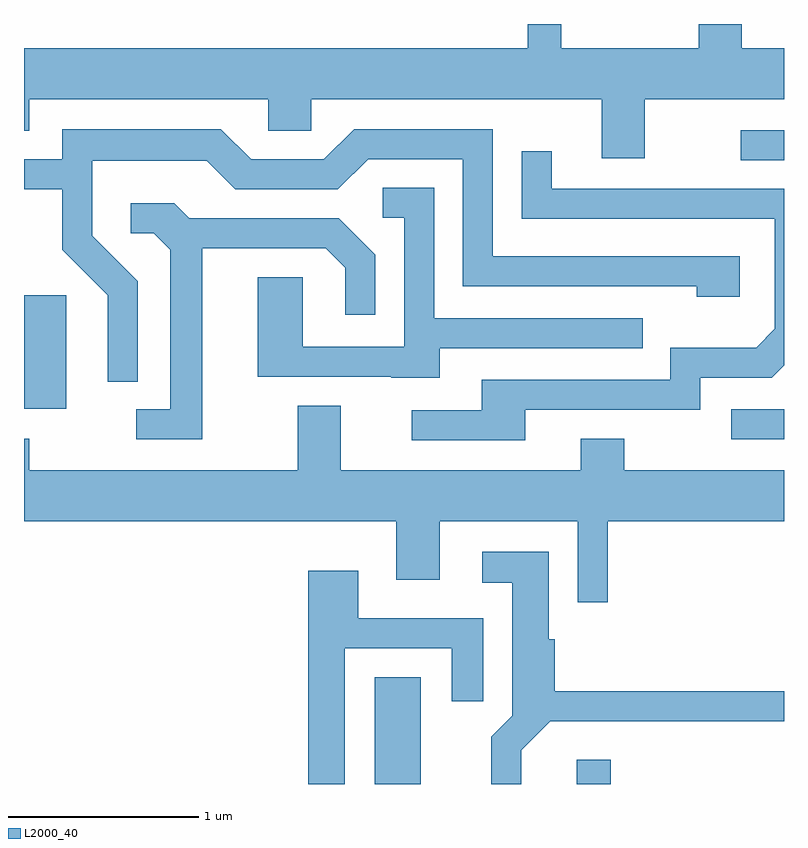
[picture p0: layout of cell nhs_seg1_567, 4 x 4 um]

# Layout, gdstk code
import gdstk
lib = gdstk.Library(unit=1e-6, precision=1e-09)
def R(c, l, rs):  # rectangles x0, y0, x1, y1
    for r in rs: c.add(gdstk.rectangle(r[:2], r[2:], *l))
def P(c, l, *ps):  # polygons
    for p in ps: c.add(gdstk.Polygon(p, *l))
L2000_40 = (2000, 40)

nhs_seg1_567 = lib.new_cell('nhs_seg1_567')
R(nhs_seg1_567, L2000_40, [(203.456,933.712,203.699,934.274), (204.521,933.712,204.699,933.839), (205.333,935.526,205.611,935.684), (201.611,935.686,201.834,936.284), (205.383,936.996,205.611,937.154)])
P(nhs_seg1_567, L2000_40, [(204.879,937.316),(205.611,937.316),(205.611,937.584),(205.389,937.584),(205.389,937.712),(205.161,937.712),(205.161,937.584),(204.439,937.584),(204.439,937.712),(204.261,937.712),(204.261,937.584),(201.611,937.584),(201.611,937.151),(201.639,937.151),(201.639,937.316),(202.896,937.316),(202.896,937.151),(203.124,937.151),(203.124,937.316),(204.651,937.316),(204.651,937.006),(204.879,937.006)],
  [(202.209,936.357),(201.969,936.597),(201.969,936.991),(202.574,936.991),(202.724,936.841),(203.262,936.841),(203.422,937.001),(203.921,937.001),(203.921,936.331),(205.151,936.331),(205.151,936.276),(205.379,936.276),(205.379,936.489),(204.079,936.489),(204.079,937.159),(203.349,937.159),(203.189,936.999),(202.807,936.999),(202.647,937.159),(201.811,937.159),(201.811,936.999),(201.611,936.999),(201.611,936.841),(201.811,936.841),(201.811,936.524),(202.051,936.284),(202.051,935.828),(202.209,935.828)],
  [(204.249,935.681),(205.169,935.681),(205.169,935.851),(205.547,935.851),(205.611,935.915),(205.611,936.844),(204.389,936.844),(204.389,937.043),(204.231,937.043),(204.231,936.686),(205.561,936.686),(205.561,936.107),(205.464,936.009),(205.011,936.009),(205.011,935.839),(204.021,935.839),(204.021,935.679),(203.653,935.679),(203.653,935.521),(204.249,935.521)],
  [(203.799,936.006),(204.868,936.006),(204.868,936.164),(203.769,936.164),(203.769,936.849),(203.498,936.849),(203.498,936.691),(203.611,936.691),(203.611,936.014),(203.079,936.014),(203.079,936.379),(202.841,936.379),(202.841,935.856),(203.545,935.856),(203.545,935.851),(203.799,935.851)],
  [(202.549,936.531),(203.199,936.531),(203.301,936.429),(203.301,936.183),(203.459,936.183),(203.459,936.497),(203.267,936.689),(202.482,936.689),(202.402,936.769),(202.173,936.769),(202.173,936.611),(202.294,936.611),(202.381,936.524),(202.381,935.684),(202.203,935.684),(202.203,935.526),(202.549,935.526)],
  [(204.684,935.096),(205.611,935.096),(205.611,935.364),(204.769,935.364),(204.769,935.529),(204.541,935.529),(204.541,935.364),(203.279,935.364),(203.279,935.704),(203.051,935.704),(203.051,935.364),(201.639,935.364),(201.639,935.529),(201.611,935.529),(201.611,935.096),(203.571,935.096),(203.571,934.786),(203.799,934.786),(203.799,935.096),(204.526,935.096),(204.526,934.668),(204.684,934.668)],
  [(204.229,933.889),(204.382,934.041),(205.611,934.041),(205.611,934.199),(204.404,934.199),(204.404,934.474),(204.374,934.474),(204.374,934.934),(204.023,934.934),(204.023,934.771),(204.181,934.771),(204.181,934.072),(204.071,933.962),(204.071,933.712),(204.229,933.712)],
  [(203.299,934.426),(203.861,934.426),(203.861,934.148),(204.029,934.148),(204.029,934.584),(203.369,934.584),(203.369,934.834),(203.106,934.834),(203.106,933.712),(203.299,933.712)])

lib.write_gds('nhs_seg1_567.gds')
